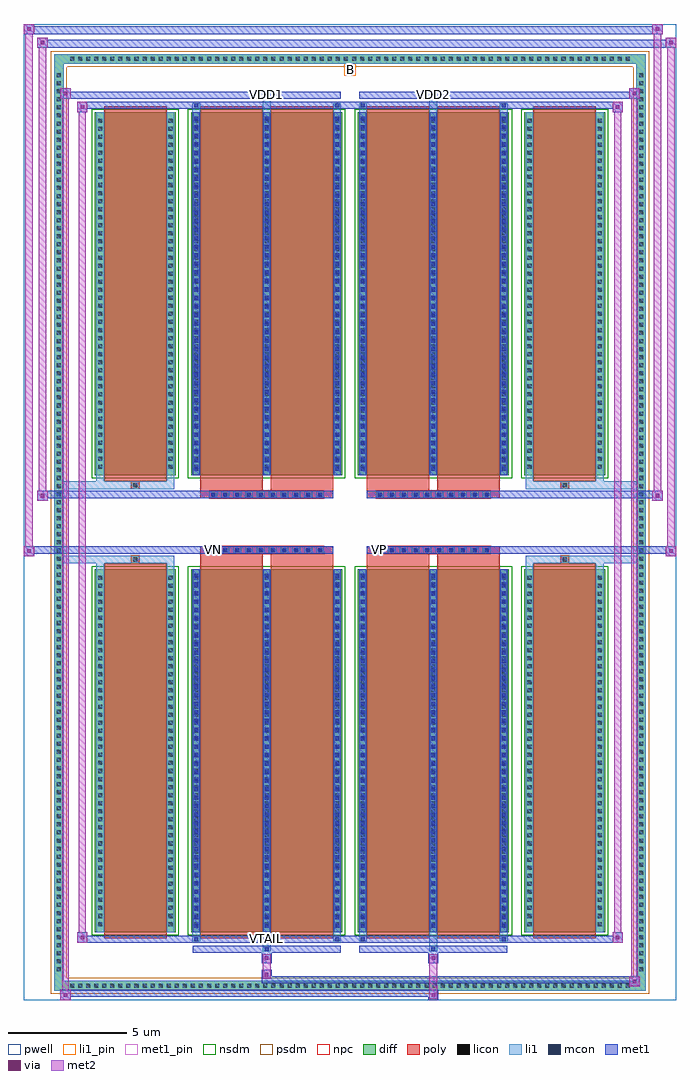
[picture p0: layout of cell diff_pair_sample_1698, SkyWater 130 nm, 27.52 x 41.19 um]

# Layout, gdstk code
import gdstk
lib = gdstk.Library(unit=1e-6, precision=5e-09)
def R(c, l, rs):  # rectangles x0, y0, x1, y1
    for r in rs: c.add(gdstk.rectangle(r[:2], r[2:], *l))
def A(c, l, x, y, w, h, nx, ny, dx, dy):  # array of equal rectangles
    R(c, l, [(x+i*dx, y+j*dy, x+i*dx+w, y+j*dy+h) for i in range(nx) for j in range(ny)])
def P(c, l, *ps):  # polygons
    for p in ps: c.add(gdstk.Polygon(p, *l))
pwell = (64, 44)
diff = (65, 20)
poly = (66, 20)
licon = (66, 44)
li1_pin = (67, 16)
li1 = (67, 20)
mcon = (67, 44)
met1_pin = (68, 16)
met1 = (68, 20)
via = (68, 44)
met2 = (69, 20)
nsdm = (93, 44)
psdm = (94, 20)
npc = (95, 20)

diff_pair_sample_1698 = lib.new_cell('diff_pair_sample_1698')
R(diff_pair_sample_1698, pwell, [(-13.76,-20.16,13.76,21.03), (-11.08,-18.35,-0.01,-0.805), (0.01,-18.35,11.08,-0.805), (-11.08,0.805,-0.01,18.35), (0.01,0.805,11.08,18.35)])
A(diff_pair_sample_1698, diff, -11.935, -19.76, 0.41, 0.41, 70, 2, 0.34, 39.11)
A(diff_pair_sample_1698, diff, -12.49, -19.075, 0.41, 0.41, 1, 112, 0, 0.34)
A(diff_pair_sample_1698, diff, 12.08, -19.075, 0.41, 0.41, 1, 112, 0, 0.34)
R(diff_pair_sample_1698, diff, [(-11.935,-19.76,11.935,-19.35), (-12.49,-19.075,-12.08,19.075), (12.08,-19.075,12.49,19.075), (-10.77,-17.305,-7.35,-1.985), (-6.71,-17.305,-0.32,-1.985), (0.32,-17.305,6.71,-1.985), (7.35,-17.305,10.77,-1.985), (-10.77,1.985,-7.35,17.305), (-6.71,1.985,-0.32,17.305), (0.32,1.985,6.71,17.305), (7.35,1.985,10.77,17.305), (-11.935,19.35,11.935,19.76)])
P(diff_pair_sample_1698, diff, [(12.49,19.76),(-12.49,19.76),(-12.49,-19.35),(-12.08,-19.35),(-12.08,19.35),(12.08,19.35),(12.08,-19.35),(-12.08,-19.35),(-12.49,-19.35),(-12.49,-19.76),(12.49,-19.76)])
A(diff_pair_sample_1698, poly, -5.93, -1.335, 0.33, 0.33, 10, 2, 0.5, 2.34)
A(diff_pair_sample_1698, poly, 1.1, -1.335, 0.33, 0.33, 10, 2, 0.5, 2.34)
R(diff_pair_sample_1698, poly, [(-10.38,-17.555,-7.74,-1.735), (-6.32,-17.555,-3.68,-1.735), (-3.35,-17.555,-0.71,-1.735), (0.71,-17.555,3.35,-1.735), (3.68,-17.555,6.32,-1.735), (7.74,-17.555,10.38,-1.735), (-9.225,-1.735,-8.895,-1.405), (-9.225,-1.735,-8.895,-1.405), (-6.32,-1.735,-3.68,-1.335), (-3.35,-1.735,-0.71,-1.335), (0.71,-1.735,3.35,-1.335), (3.68,-1.735,6.32,-1.335), (8.895,-1.735,9.225,-1.405), (8.895,-1.735,9.225,-1.405), (-6.32,-1.335,-0.71,-1.005), (0.71,-1.335,6.32,-1.005), (-6.32,1.005,-0.71,1.335), (0.71,1.005,6.32,1.335), (-6.32,1.335,-3.68,1.735), (-3.35,1.335,-0.71,1.735), (0.71,1.335,3.35,1.735), (3.68,1.335,6.32,1.735), (-9.225,1.405,-8.895,1.735), (-9.225,1.405,-8.895,1.735), (8.895,1.405,9.225,1.735), (8.895,1.405,9.225,1.735), (-10.38,1.735,-7.74,17.555), (-6.32,1.735,-3.68,17.555), (-3.35,1.735,-0.71,17.555), (0.71,1.735,3.35,17.555), (3.68,1.735,6.32,17.555), (7.74,1.735,10.38,17.555)])
A(diff_pair_sample_1698, licon, -11.815, -19.64, 0.17, 0.17, 70, 2, 0.34, 39.11)
A(diff_pair_sample_1698, licon, -12.37, -18.955, 0.17, 0.17, 1, 112, 0, 0.34)
A(diff_pair_sample_1698, licon, 12.2, -18.955, 0.17, 0.17, 1, 112, 0, 0.34)
A(diff_pair_sample_1698, licon, -10.63, -17.04, 0.17, 0.17, 1, 44, 0, 0.34)
A(diff_pair_sample_1698, licon, -7.66, -17.04, 0.17, 0.17, 1, 44, 0, 0.34)
A(diff_pair_sample_1698, licon, -6.57, -17.04, 0.17, 0.17, 3, 44, 2.97, 0.34)
A(diff_pair_sample_1698, licon, 0.46, -17.04, 0.17, 0.17, 3, 44, 2.97, 0.34)
A(diff_pair_sample_1698, licon, 7.49, -17.04, 0.17, 0.17, 1, 44, 0, 0.34)
A(diff_pair_sample_1698, licon, 10.46, -17.04, 0.17, 0.17, 1, 44, 0, 0.34)
A(diff_pair_sample_1698, licon, -5.85, -1.255, 0.17, 0.17, 10, 2, 0.5, 2.34)
A(diff_pair_sample_1698, licon, 1.18, -1.255, 0.17, 0.17, 10, 2, 0.5, 2.34)
A(diff_pair_sample_1698, licon, -10.63, 2.25, 0.17, 0.17, 1, 44, 0, 0.34)
A(diff_pair_sample_1698, licon, -7.66, 2.25, 0.17, 0.17, 1, 44, 0, 0.34)
A(diff_pair_sample_1698, licon, -6.57, 2.25, 0.17, 0.17, 3, 44, 2.97, 0.34)
A(diff_pair_sample_1698, licon, 0.46, 2.25, 0.17, 0.17, 3, 44, 2.97, 0.34)
A(diff_pair_sample_1698, licon, 7.49, 2.25, 0.17, 0.17, 1, 44, 0, 0.34)
A(diff_pair_sample_1698, licon, 10.46, 2.25, 0.17, 0.17, 1, 44, 0, 0.34)
R(diff_pair_sample_1698, licon, [(-9.145,-1.655,-8.975,-1.485), (8.975,-1.655,9.145,-1.485), (-9.145,1.485,-8.975,1.655), (8.975,1.485,9.145,1.655)])
R(diff_pair_sample_1698, li1_pin, [(-0.25,18.85,0.25,19.35)])
A(diff_pair_sample_1698, li1, -11.895, -19.72, 0.33, 0.33, 70, 2, 0.34, 39.11)
A(diff_pair_sample_1698, li1, -12.45, -19.035, 0.33, 0.33, 1, 112, 0, 0.34)
A(diff_pair_sample_1698, li1, 12.12, -19.035, 0.33, 0.33, 1, 112, 0, 0.34)
A(diff_pair_sample_1698, li1, -6.65, -17.305, 0.33, 15.32, 3, 2, 2.97, 19.29)
A(diff_pair_sample_1698, li1, 0.38, -17.305, 0.33, 15.32, 3, 2, 2.97, 19.29)
A(diff_pair_sample_1698, li1, -10.71, -17.12, 0.33, 0.33, 1, 44, 0, 0.34)
A(diff_pair_sample_1698, li1, -7.74, -17.12, 0.33, 0.33, 1, 44, 0, 0.34)
A(diff_pair_sample_1698, li1, -6.65, -17.12, 0.33, 0.33, 3, 44, 2.97, 0.34)
A(diff_pair_sample_1698, li1, 0.38, -17.12, 0.33, 0.33, 3, 44, 2.97, 0.34)
A(diff_pair_sample_1698, li1, 7.41, -17.12, 0.33, 0.33, 1, 44, 0, 0.34)
A(diff_pair_sample_1698, li1, 10.38, -17.12, 0.33, 0.33, 1, 44, 0, 0.34)
A(diff_pair_sample_1698, li1, -6.57, -17.11, 0.17, 0.17, 3, 42, 2.97, 0.36)
A(diff_pair_sample_1698, li1, -6.57, -17.11, 0.17, 14.93, 3, 2, 2.97, 19.29)
A(diff_pair_sample_1698, li1, 0.46, -17.11, 0.17, 0.17, 3, 42, 2.97, 0.36)
A(diff_pair_sample_1698, li1, 0.46, -17.11, 0.17, 14.93, 3, 2, 2.97, 19.29)
A(diff_pair_sample_1698, li1, -5.93, -1.335, 0.33, 0.33, 10, 2, 0.5, 2.34)
A(diff_pair_sample_1698, li1, 1.1, -1.335, 0.33, 0.33, 10, 2, 0.5, 2.34)
A(diff_pair_sample_1698, li1, -10.71, 2.17, 0.33, 0.33, 1, 44, 0, 0.34)
A(diff_pair_sample_1698, li1, -7.74, 2.17, 0.33, 0.33, 1, 44, 0, 0.34)
A(diff_pair_sample_1698, li1, -6.65, 2.17, 0.33, 0.33, 3, 44, 2.97, 0.34)
A(diff_pair_sample_1698, li1, 0.38, 2.17, 0.33, 0.33, 3, 44, 2.97, 0.34)
A(diff_pair_sample_1698, li1, 7.41, 2.17, 0.33, 0.33, 1, 44, 0, 0.34)
A(diff_pair_sample_1698, li1, 10.38, 2.17, 0.33, 0.33, 1, 44, 0, 0.34)
A(diff_pair_sample_1698, li1, -6.57, 2.18, 0.17, 0.17, 3, 42, 2.97, 0.36)
A(diff_pair_sample_1698, li1, 0.46, 2.18, 0.17, 0.17, 3, 42, 2.97, 0.36)
R(diff_pair_sample_1698, li1, [(-12.49,-19.76,-12.08,-19.35), (-12.49,-19.76,-12.08,-19.35), (-12.08,-19.76,12.08,-19.35), (12.08,-19.76,12.49,-19.35), (12.08,-19.76,12.49,-19.35), (-12.49,-19.35,-12.08,19.35), (12.08,-19.35,12.49,19.35), (-3.68,-18.11,-3.35,-17.305), (-3.6,-18.11,-3.43,-17.94), (3.35,-18.11,3.68,-17.305), (3.43,-18.11,3.6,-17.94), (-6.65,-17.68,-6.32,-17.305), (-6.57,-17.68,-6.4,-17.51), (-0.71,-17.68,-0.38,-17.305), (-0.63,-17.68,-0.46,-17.51), (0.38,-17.68,0.71,-17.305), (0.46,-17.68,0.63,-17.51), (6.32,-17.68,6.65,-17.305), (6.4,-17.68,6.57,-17.51), (-10.71,-17.305,-10.38,-1.985), (-7.74,-17.305,-7.41,-1.985), (7.41,-17.305,7.74,-1.985), (10.38,-17.305,10.71,-1.985), (-10.71,-1.985,-10.38,-1.405), (-7.74,-1.985,-7.41,-1.405), (7.41,-1.985,7.74,-1.405), (10.38,-1.985,10.71,-1.405), (-12.49,-1.735,-9.225,-1.405), (-10.71,-1.735,-9.225,-1.405), (-9.225,-1.735,-8.895,-1.405), (-8.895,-1.735,-7.41,-1.405), (7.41,-1.735,8.895,-1.405), (8.895,-1.735,9.225,-1.405), (8.895,-1.735,12.49,-1.405), (9.225,-1.735,10.71,-1.405), (-12.49,1.405,-9.225,1.735), (-10.71,1.405,-9.225,1.735), (-10.71,1.405,-10.38,1.985), (-9.225,1.405,-8.895,1.735), (-8.895,1.405,-7.41,1.735), (-7.74,1.405,-7.41,1.985), (7.41,1.405,8.895,1.735), (7.41,1.405,7.74,1.985), (8.895,1.405,9.225,1.735), (8.895,1.405,12.49,1.735), (9.225,1.405,10.71,1.735), (10.38,1.405,10.71,1.985), (-10.71,1.985,-10.38,17.305), (-7.74,1.985,-7.41,17.305), (7.41,1.985,7.74,17.305), (10.38,1.985,10.71,17.305), (-6.65,17.305,-6.32,17.68), (-3.68,17.305,-3.35,18.11), (-0.71,17.305,-0.38,17.68), (0.38,17.305,0.71,17.68), (3.35,17.305,3.68,18.11), (6.32,17.305,6.65,17.68), (-6.57,17.51,-6.4,17.68), (-0.63,17.51,-0.46,17.68), (0.46,17.51,0.63,17.68), (6.4,17.51,6.57,17.68), (-3.6,17.94,-3.43,18.11), (3.43,17.94,3.6,18.11), (-12.49,19.35,-12.08,19.76), (-12.49,19.35,-12.08,19.76), (-12.08,19.35,12.08,19.76), (12.08,19.35,12.49,19.76), (12.08,19.35,12.49,19.76)])
A(diff_pair_sample_1698, mcon, -6.57, -17.11, 0.17, 0.17, 3, 42, 2.97, 0.36)
A(diff_pair_sample_1698, mcon, 0.46, -17.11, 0.17, 0.17, 3, 42, 2.97, 0.36)
A(diff_pair_sample_1698, mcon, -5.85, -1.255, 0.17, 0.17, 10, 2, 0.5, 2.34)
A(diff_pair_sample_1698, mcon, 1.18, -1.255, 0.17, 0.17, 10, 2, 0.5, 2.34)
A(diff_pair_sample_1698, mcon, -6.57, 2.18, 0.17, 0.17, 3, 42, 2.97, 0.36)
A(diff_pair_sample_1698, mcon, 0.46, 2.18, 0.17, 0.17, 3, 42, 2.97, 0.36)
R(diff_pair_sample_1698, mcon, [(-3.6,-18.11,-3.43,-17.94), (3.43,-18.11,3.6,-17.94), (-6.57,-17.68,-6.4,-17.51), (-0.63,-17.68,-0.46,-17.51), (0.46,-17.68,0.63,-17.51), (6.4,-17.68,6.57,-17.51), (-6.57,17.51,-6.4,17.68), (-0.63,17.51,-0.46,17.68), (0.46,17.51,0.63,17.68), (6.4,17.51,6.57,17.68), (-3.6,17.94,-3.43,18.11), (3.43,17.94,3.6,18.11)])
R(diff_pair_sample_1698, met1_pin, [(-3.65,-17.72,-3.38,-17.45), (-5.9,-1.295,-5.63,-1.025), (1.13,-1.295,1.4,-1.025), (-3.65,17.9,-3.38,18.17), (3.38,17.9,3.65,18.17)])
A(diff_pair_sample_1698, met1, -6.63, -17.305, 0.29, 15.32, 3, 2, 2.97, 19.29)
A(diff_pair_sample_1698, met1, 0.4, -17.305, 0.29, 15.32, 3, 2, 2.97, 19.29)
A(diff_pair_sample_1698, met1, -6.63, -17.17, 0.29, 0.29, 3, 42, 2.97, 0.36)
A(diff_pair_sample_1698, met1, 0.4, -17.17, 0.29, 0.29, 3, 42, 2.97, 0.36)
A(diff_pair_sample_1698, met1, -5.91, -1.315, 0.29, 0.29, 10, 2, 0.5, 2.34)
A(diff_pair_sample_1698, met1, 1.12, -1.315, 0.29, 0.29, 10, 2, 0.5, 2.34)
A(diff_pair_sample_1698, met1, -6.63, 2.12, 0.29, 0.29, 3, 42, 2.97, 0.36)
A(diff_pair_sample_1698, met1, 0.4, 2.12, 0.29, 0.29, 3, 42, 2.97, 0.36)
R(diff_pair_sample_1698, met1, [(-12.22,-20.16,-11.79,-19.73), (3.3,-20.16,3.73,-19.73), (-12.22,-20.02,3.73,-19.73), (11.79,-19.59,12.22,-19.16), (-3.73,-19.45,12.22,-19.16), (-3.73,-19.31,-3.3,-18.88), (-3.73,-18.6,-3.3,-18.17), (3.3,-18.6,3.73,-18.17), (-6.63,-18.17,-0.4,-17.88), (-3.66,-18.17,-3.37,-17.88), (0.4,-18.17,6.63,-17.88), (3.37,-18.17,3.66,-17.88), (-11.51,-17.74,-11.08,-17.31), (-11.51,-17.74,-6.63,-17.45), (-6.63,-17.74,-6.34,-17.45), (-6.63,-17.74,-0.4,-17.45), (-0.69,-17.74,-0.4,-17.45), (-0.4,-17.74,0.4,-17.45), (0.4,-17.74,0.69,-17.45), (0.4,-17.74,6.63,-17.45), (6.34,-17.74,6.63,-17.45), (6.63,-17.74,11.51,-17.45), (11.08,-17.74,11.51,-17.31), (-13.76,-1.435,-13.33,-1.005), (13.33,-1.435,13.76,-1.005), (-13.76,-1.335,-0.71,-1.005), (-6.32,-1.335,-0.71,-1.005), (0.71,-1.335,6.32,-1.005), (0.71,-1.335,13.76,-1.005), (-13.19,0.905,-12.76,1.335), (12.76,0.905,13.19,1.335), (-13.19,1.005,-6.32,1.335), (-6.32,1.005,-0.71,1.335), (0.71,1.005,6.32,1.335), (6.32,1.005,13.19,1.335), (-11.51,17.31,-11.08,17.74), (11.08,17.31,11.51,17.74), (-11.51,17.45,-6.63,17.74), (-6.63,17.45,-6.34,17.74), (-6.63,17.45,-0.4,17.74), (-0.69,17.45,-0.4,17.74), (-0.4,17.45,0.4,17.74), (0.4,17.45,0.69,17.74), (0.4,17.45,6.63,17.74), (6.34,17.45,6.63,17.74), (6.63,17.45,11.51,17.74), (-12.22,17.88,-11.79,18.31), (-12.22,17.88,-6.63,18.17), (-6.63,17.88,-0.4,18.17), (-3.66,17.88,-3.37,18.17), (0.4,17.88,6.63,18.17), (3.37,17.88,3.66,18.17), (6.63,17.88,12.22,18.17), (11.79,17.88,12.22,18.31), (-13.19,20.03,-12.76,20.46), (-13.19,20.03,-11.08,20.36), (-11.08,20.03,11.08,20.36), (11.08,20.03,13.76,20.36), (13.33,20.03,13.76,20.46), (-13.76,20.6,-13.33,21.03), (-13.76,20.6,-11.08,20.93), (-11.08,20.6,11.08,20.93), (11.08,20.6,13.19,20.93), (12.76,20.6,13.19,21.03)])
R(diff_pair_sample_1698, via, [(-12.08,-20.02,-11.93,-19.87), (3.44,-20.02,3.59,-19.87), (11.93,-19.45,12.08,-19.3), (-3.59,-19.17,-3.44,-19.02), (-3.59,-18.46,-3.44,-18.31), (3.44,-18.46,3.59,-18.31), (-11.37,-17.6,-11.22,-17.45), (11.22,-17.6,11.37,-17.45), (-13.62,-1.295,-13.47,-1.145), (13.47,-1.295,13.62,-1.145), (-13.05,1.045,-12.9,1.195), (12.9,1.045,13.05,1.195), (-11.37,17.45,-11.22,17.6), (11.22,17.45,11.37,17.6), (-12.08,18.02,-11.93,18.17), (11.93,18.02,12.08,18.17), (-13.05,20.17,-12.9,20.32), (13.47,20.17,13.62,20.32), (-13.62,20.74,-13.47,20.89), (12.9,20.74,13.05,20.89)])
R(diff_pair_sample_1698, met2, [(-12.22,-20.16,-11.79,-19.73), (-12.15,-20.16,-11.86,18.31), (-11.86,-20.16,-11.79,-19.73), (-12.17,-20.11,-11.84,-19.78), (3.35,-20.11,3.68,-19.78), (3.35,-19.78,3.68,-18.55), (11.79,-19.59,12.22,-19.16), (11.86,-19.59,12.15,18.31), (12.15,-19.59,12.22,-19.16), (11.84,-19.54,12.17,-19.21), (-3.68,-19.26,-3.35,-18.93), (-3.68,-18.93,-3.35,-18.55), (-3.68,-18.55,-3.35,-18.22), (3.35,-18.55,3.68,-18.22), (-11.51,-17.74,-11.08,-17.31), (-11.44,-17.74,-11.15,17.74), (-11.15,-17.74,-11.08,-17.31), (11.08,-17.74,11.51,-17.31), (11.15,-17.74,11.44,17.74), (11.44,-17.74,11.51,-17.31), (-11.46,-17.69,-11.13,-17.36), (11.13,-17.69,11.46,-17.36), (-13.76,-1.435,-13.33,-1.005), (-13.71,-1.435,-13.38,21.03), (-13.38,-1.435,-13.33,-1.005), (13.33,-1.435,13.76,-1.005), (13.38,-1.435,13.71,20.46), (13.71,-1.435,13.76,-1.005), (-13.71,-1.385,-13.38,-1.055), (13.38,-1.385,13.71,-1.055), (-13.19,0.905,-12.76,1.335), (-13.14,0.905,-12.81,20.46), (-12.81,0.905,-12.76,1.335), (12.76,0.905,13.19,1.335), (12.81,0.905,13.14,21.03), (13.14,0.905,13.19,1.335), (-13.14,0.955,-12.81,1.285), (12.81,0.955,13.14,1.285), (-11.51,17.31,-11.08,17.74), (-11.15,17.31,-11.08,17.74), (11.08,17.31,11.51,17.74), (11.44,17.31,11.51,17.74), (-11.46,17.36,-11.13,17.69), (11.13,17.36,11.46,17.69), (-12.22,17.88,-11.79,18.31), (-11.86,17.88,-11.79,18.31), (11.79,17.88,12.22,18.31), (12.15,17.88,12.22,18.31), (-12.17,17.93,-11.84,18.26), (11.84,17.93,12.17,18.26), (-13.19,20.03,-12.76,20.46), (-12.81,20.03,-12.76,20.46), (13.33,20.03,13.76,20.46), (13.71,20.03,13.76,20.46), (-13.14,20.08,-12.81,20.41), (13.38,20.08,13.71,20.41), (-13.76,20.6,-13.33,21.03), (-13.38,20.6,-13.33,21.03), (12.76,20.6,13.19,21.03), (13.14,20.6,13.19,21.03), (-13.71,20.65,-13.38,20.98), (12.81,20.65,13.14,20.98)])
R(diff_pair_sample_1698, nsdm, [(-10.9,-17.435,-7.22,-1.855), (-6.84,-17.435,-0.19,-1.855), (0.19,-17.435,6.84,-1.855), (7.22,-17.435,10.9,-1.855), (-10.9,1.855,-7.22,17.435), (-6.84,1.855,-0.19,17.435), (0.19,1.855,6.84,17.435), (7.22,1.855,10.9,17.435)])
P(diff_pair_sample_1698, psdm, [(12.62,19.89),(-12.62,19.89),(-12.62,-19.22),(-11.95,-19.22),(-11.95,19.22),(11.95,19.22),(11.95,-19.22),(-11.95,-19.22),(-12.62,-19.22),(-12.62,-19.89),(12.62,-19.89)])
A(diff_pair_sample_1698, npc, -5.95, -1.355, 0.37, 0.37, 10, 2, 0.5, 2.34)
A(diff_pair_sample_1698, npc, 1.08, -1.355, 0.37, 0.37, 10, 2, 0.5, 2.34)
R(diff_pair_sample_1698, npc, [(-9.245,-1.755,-8.875,-1.385), (8.875,-1.755,9.245,-1.385), (-5.95,-1.355,-5.08,-0.985), (-5.95,-1.355,-5.08,-0.985), (-5.45,-1.355,-4.58,-0.985), (-5.45,-1.355,-4.58,-0.985), (-4.95,-1.355,-4.08,-0.985), (-4.95,-1.355,-4.08,-0.985), (-4.45,-1.355,-3.58,-0.985), (-4.45,-1.355,-3.58,-0.985), (-3.95,-1.355,-3.08,-0.985), (-3.95,-1.355,-3.08,-0.985), (-3.45,-1.355,-2.58,-0.985), (-3.45,-1.355,-2.58,-0.985), (-2.95,-1.355,-2.08,-0.985), (-2.95,-1.355,-2.08,-0.985), (-2.45,-1.355,-1.58,-0.985), (-2.45,-1.355,-1.58,-0.985), (-1.95,-1.355,-1.08,-0.985), (-1.95,-1.355,-1.08,-0.985), (1.08,-1.355,1.95,-0.985), (1.08,-1.355,1.95,-0.985), (1.58,-1.355,2.45,-0.985), (1.58,-1.355,2.45,-0.985), (2.08,-1.355,2.95,-0.985), (2.08,-1.355,2.95,-0.985), (2.58,-1.355,3.45,-0.985), (2.58,-1.355,3.45,-0.985), (3.08,-1.355,3.95,-0.985), (3.08,-1.355,3.95,-0.985), (3.58,-1.355,4.45,-0.985), (3.58,-1.355,4.45,-0.985), (4.08,-1.355,4.95,-0.985), (4.08,-1.355,4.95,-0.985), (4.58,-1.355,5.45,-0.985), (4.58,-1.355,5.45,-0.985), (5.08,-1.355,5.95,-0.985), (5.08,-1.355,5.95,-0.985), (-5.95,0.985,-5.08,1.355), (-5.95,0.985,-5.08,1.355), (-5.45,0.985,-4.58,1.355), (-5.45,0.985,-4.58,1.355), (-4.95,0.985,-4.08,1.355), (-4.95,0.985,-4.08,1.355), (-4.45,0.985,-3.58,1.355), (-4.45,0.985,-3.58,1.355), (-3.95,0.985,-3.08,1.355), (-3.95,0.985,-3.08,1.355), (-3.45,0.985,-2.58,1.355), (-3.45,0.985,-2.58,1.355), (-2.95,0.985,-2.08,1.355), (-2.95,0.985,-2.08,1.355), (-2.45,0.985,-1.58,1.355), (-2.45,0.985,-1.58,1.355), (-1.95,0.985,-1.08,1.355), (-1.95,0.985,-1.08,1.355), (1.08,0.985,1.95,1.355), (1.08,0.985,1.95,1.355), (1.58,0.985,2.45,1.355), (1.58,0.985,2.45,1.355), (2.08,0.985,2.95,1.355), (2.08,0.985,2.95,1.355), (2.58,0.985,3.45,1.355), (2.58,0.985,3.45,1.355), (3.08,0.985,3.95,1.355), (3.08,0.985,3.95,1.355), (3.58,0.985,4.45,1.355), (3.58,0.985,4.45,1.355), (4.08,0.985,4.95,1.355), (4.08,0.985,4.95,1.355), (4.58,0.985,5.45,1.355), (4.58,0.985,5.45,1.355), (5.08,0.985,5.95,1.355), (5.08,0.985,5.95,1.355), (-9.245,1.385,-8.875,1.755), (8.875,1.385,9.245,1.755)])
diff_pair_sample_1698.add(gdstk.Label('VTAIL', (-3.515,-17.585), layer=68, texttype=5))
diff_pair_sample_1698.add(gdstk.Label('VN', (-5.765,-1.16), layer=68, texttype=5))
diff_pair_sample_1698.add(gdstk.Label('VP', (1.265,-1.16), layer=68, texttype=5))
diff_pair_sample_1698.add(gdstk.Label('B', (0,19.1), layer=67, texttype=5))
diff_pair_sample_1698.add(gdstk.Label('VDD2', (3.515,18.035), layer=68, texttype=5))
diff_pair_sample_1698.add(gdstk.Label('VDD1', (-3.515,18.035), layer=68, texttype=5))

lib.write_gds('diff_pair_sample_1698.gds')
